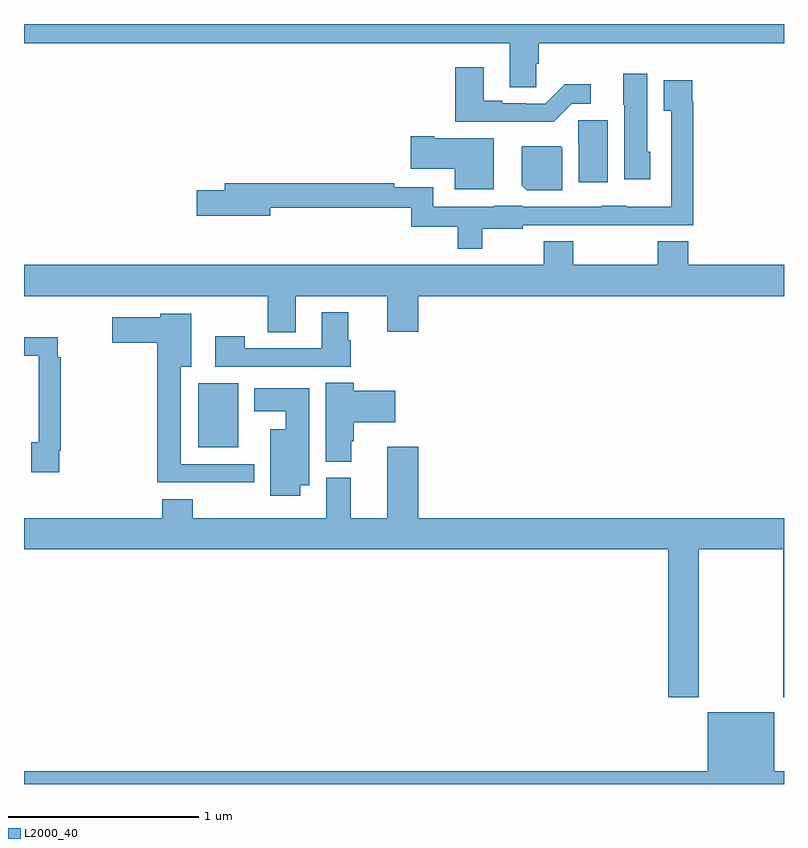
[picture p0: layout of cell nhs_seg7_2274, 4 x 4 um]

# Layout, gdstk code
import gdstk
lib = gdstk.Library(unit=1e-6, precision=1e-09)
def R(c, l, rs):  # rectangles x0, y0, x1, y1
    for r in rs: c.add(gdstk.rectangle(r[:2], r[2:], *l))
def P(c, l, *ps):  # polygons
    for p in ps: c.add(gdstk.Polygon(p, *l))
L2000_40 = (2000, 40)

nhs_seg7_2274 = lib.new_cell('nhs_seg7_2274')
R(nhs_seg7_2274, L2000_40, [(259.916,1047.773,260.128,1048.108)])
P(nhs_seg7_2274, L2000_40, [(261.696,1049.79),(261.71,1049.79),(261.71,1049.9),(263,1049.9),(263,1050),(259,1050),(259,1049.9),(261.557,1049.9),(261.557,1049.668),(261.696,1049.668)],
  [(261.882,1049.58),(261.982,1049.58),(261.982,1049.683),(261.847,1049.683),(261.744,1049.58),(261.644,1049.58),(261.644,1049.583),(261.517,1049.583),(261.517,1049.596),(261.421,1049.596),(261.421,1049.773),(261.269,1049.773),(261.269,1049.486),(261.787,1049.486)],
  [(262.297,1049.328),(262.279,1049.328),(262.279,1049.737),(262.154,1049.737),(262.154,1049.574),(262.16,1049.574),(262.16,1049.184),(262.297,1049.184)],
  [(261.412,1048.922),(261.624,1048.922),(261.624,1048.941),(262.041,1048.941),(262.041,1048.94),(262.273,1048.94),(262.273,1048.941),(262.523,1048.941),(262.523,1049.591),(262.516,1049.591),(262.516,1049.704),(262.367,1049.704),(262.367,1049.543),(262.407,1049.543),(262.407,1049.038),(262.173,1049.038),(262.173,1049.044),(262.041,1049.044),(262.041,1049.037),(261.624,1049.037),(261.624,1049.044),(261.474,1049.044),(261.474,1049.038),(261.153,1049.038),(261.153,1049.142),(260.948,1049.142),(260.948,1049.162),(260.057,1049.162),(260.057,1049.126),(259.908,1049.126),(259.908,1048.991),(260.296,1048.991),(260.296,1049.034),(261.037,1049.034),(261.037,1048.934),(261.283,1048.934),(261.283,1048.817),(261.412,1048.817)],
  [(262.072,1049.493),(261.916,1049.493),(261.916,1049.37),(261.92,1049.37),(261.92,1049.166),(262.072,1049.166)],
  [(261.472,1049.398),(261.159,1049.398),(261.159,1049.408),(261.036,1049.408),(261.036,1049.237),(261.266,1049.237),(261.266,1049.129),(261.472,1049.129)],
  [(261.832,1049.348),(261.824,1049.356),(261.62,1049.356),(261.62,1049.152),(261.646,1049.126),(261.832,1049.126)],
  [(260.431,1048.568),(260.912,1048.568),(260.912,1048.38),(261.076,1048.38),(261.076,1048.568),(263,1048.568),(263,1048.732),(262.496,1048.732),(262.496,1048.856),(262.336,1048.856),(262.336,1048.732),(261.891,1048.732),(261.891,1048.856),(261.736,1048.856),(261.736,1048.732),(259,1048.732),(259,1048.568),(260.284,1048.568),(260.284,1048.378),(260.431,1048.378)],
  [(260.72,1048.335),(260.707,1048.335),(260.707,1048.483),(260.567,1048.483),(260.567,1048.293),(260.163,1048.293),(260.163,1048.357),(260.007,1048.357),(260.007,1048.197),(260.72,1048.197)],
  [(260.212,1047.684),(259.825,1047.684),(259.825,1048.196),(259.879,1048.196),(259.879,1048.474),(259.716,1048.474),(259.716,1048.456),(259.464,1048.456),(259.464,1048.322),(259.7,1048.322),(259.7,1047.587),(260.212,1047.587)],
  [(259.186,1047.754),(259.193,1047.754),(259.193,1048.247),(259.178,1048.247),(259.178,1048.352),(259,1048.352),(259,1048.254),(259.077,1048.254),(259.077,1047.798),(259.037,1047.798),(259.037,1047.642),(259.186,1047.642)],
  [(260.722,1047.805),(260.735,1047.805),(260.735,1047.905),(260.953,1047.905),(260.953,1048.071),(260.735,1048.071),(260.735,1048.112),(260.588,1048.112),(260.588,1047.697),(260.722,1047.697)],
  [(260.455,1047.572),(260.5,1047.572),(260.5,1048.084),(260.213,1048.084),(260.213,1047.962),(260.378,1047.962),(260.378,1047.868),(260.297,1047.868),(260.297,1047.516),(260.455,1047.516)],
  [(262.551,1047.236),(262.996,1047.236),(262.996,1046.457),(263,1046.457),(263,1047.4),(261.076,1047.4),(261.076,1047.775),(260.912,1047.775),(260.912,1047.4),(260.719,1047.4),(260.719,1047.612),(260.591,1047.612),(260.591,1047.4),(259.887,1047.4),(259.887,1047.499),(259.727,1047.499),(259.727,1047.4),(259,1047.4),(259,1047.236),(262.391,1047.236),(262.391,1046.457),(262.551,1046.457)],
  [(263,1046.068),(262.948,1046.068),(262.948,1046.377),(262.598,1046.377),(262.598,1046.068),(259,1046.068),(259,1046),(263,1046)])

lib.write_gds('nhs_seg7_2274.gds')
